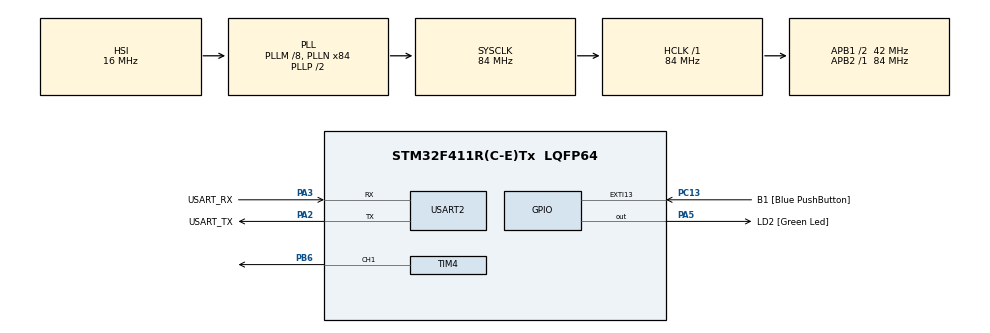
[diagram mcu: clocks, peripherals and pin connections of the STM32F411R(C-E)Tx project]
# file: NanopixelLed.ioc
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Dma.Request0=TIM4_CH1
Dma.TIM4_CH1.0.Direction=DMA_MEMORY_TO_PERIPH
Dma.TIM4_CH1.0.FIFOMode=DMA_FIFOMODE_DISABLE
Dma.TIM4_CH1.0.Instance=DMA1_Stream0
Dma.TIM4_CH1.0.MemDataAlignment=DMA_MDATAALIGN_HALFWORD
Dma.TIM4_CH1.0.MemInc=DMA_MINC_ENABLE
Dma.TIM4_CH1.0.Mode=DMA_CIRCULAR
Dma.TIM4_CH1.0.PeriphDataAlignment=DMA_PDATAALIGN_HALFWORD
Dma.TIM4_CH1.0.PeriphInc=DMA_PINC_DISABLE
Dma.TIM4_CH1.0.Priority=DMA_PRIORITY_HIGH
Mcu.Family=STM32F4
Mcu.Name=STM32F411R(C-E)Tx
Mcu.Package=LQFP64
NVIC.DMA1_Stream0_IRQn=true\:0\:0\:false\:false\:true\:false\:true
NVIC.PriorityGroup=NVIC_PRIORITYGROUP_0
PA13.GPIO_Label=TMS
PA13.Mode=Serial_Wire
PA13.Signal=SYS_JTMS-SWDIO
PA14.GPIO_Label=TCK
PA14.Mode=Serial_Wire
PA14.Signal=SYS_JTCK-SWCLK
PA2.GPIO_Label=USART_TX
PA2.Mode=Asynchronous
PA2.Signal=USART2_TX
PA3.GPIO_Label=USART_RX
PA3.Mode=Asynchronous
PA3.Signal=USART2_RX
PA5.GPIO_Label=LD2 [Green Led]
PA5.Signal=GPIO_Output
PB3.GPIO_Label=SWO
PB3.Signal=SYS_JTDO-SWO
PB6.GPIO_ModeDefaultPP=GPIO_MODE_AF_OD
PB6.GPIO_PuPd=GPIO_PULLUP
PB6.GPIO_Speed=GPIO_SPEED_FREQ_VERY_HIGH
PB6.Signal=S_TIM4_CH1
PC13-ANTI_TAMP.GPIO_Label=B1 [Blue PushButton]
PC13-ANTI_TAMP.GPIO_ModeDefaultEXTI=GPIO_MODE_IT_FALLING
PC13-ANTI_TAMP.Signal=GPXTI13
PC14-OSC32_IN.Mode=LSE-External-Oscillator
PC14-OSC32_IN.Signal=RCC_OSC32_IN
PC15-OSC32_OUT.Mode=LSE-External-Oscillator
PC15-OSC32_OUT.Signal=RCC_OSC32_OUT
PH0\ -\ OSC_IN.Mode=HSE-External-Clock-Source
PH0\ -\ OSC_IN.Signal=RCC_OSC_IN
PH1\ -\ OSC_OUT.Mode=HSE-External-Clock-Source
PH1\ -\ OSC_OUT.Signal=RCC_OSC_OUT
ProjectManager.HeapSize=0x200
ProjectManager.StackSize=0x400
ProjectManager.TargetToolchain=STM32CubeIDE
RCC.48MHZClocksFreq_Value=42000000
RCC.AHBFreq_Value=84000000
RCC.APB1CLKDivider=RCC_HCLK_DIV2
RCC.APB1Freq_Value=42000000
RCC.APB1TimFreq_Value=84000000
RCC.APB2Freq_Value=84000000
RCC.APB2TimFreq_Value=84000000
RCC.CortexFreq_Value=84000000
RCC.FLatency-AdvancedSettings=FLASH_LATENCY_2
RCC.HCLKFreq_Value=84000000
RCC.HSE_VALUE=8000000
RCC.HSI_VALUE=16000000
RCC.PLLM=8
RCC.PLLN=84
RCC.SYSCLKFreq_VALUE=84000000
RCC.SYSCLKSource=RCC_SYSCLKSOURCE_PLLCLK
RCC.VCOOutputFreq_Value=168000000
SH.S_TIM4_CH1.0=TIM4_CH1,PWM Generation1 CH1
TIM4.AutoReloadPreload=TIM_AUTORELOAD_PRELOAD_ENABLE
TIM4.Channel-PWM\ Generation1\ CH1=TIM_CHANNEL_1
TIM4.OCFastMode_PWM-PWM\ Generation1\ CH1=TIM_OCFAST_ENABLE
TIM4.OCMode_PWM-PWM\ Generation1\ CH1=TIM_OCMODE_PWM1
TIM4.Period=105 - 1
TIM4.Prescaler=0
TIM4.Pulse-PWM\ Generation1\ CH1=0
USART2.VirtualMode=VM_ASYNC
VP_TIM4_VS_ClockSourceINT.Mode=Internal
board=NUCLEO-F411RE

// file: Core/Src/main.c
/* USER CODE BEGIN Header */
/**
  ******************************************************************************
  * @file           : main.c
  * @brief          : Main program body
  ******************************************************************************
  * @attention
  *
  * <h2><center>&copy; Copyright (c) 2020 STMicroelectronics.
  * All rights reserved.</center></h2>
  *
  * This software component is licensed by ST under BSD 3-Clause license,
  * the "License"; You may not use this file except in compliance with the
  * License. You may obtain a copy of the License at:
  *                        opensource.org/licenses/BSD-3-Clause
  *
  ******************************************************************************
  */
/* USER CODE END Header */
#include "main.h"

/* USER CODE BEGIN Includes */
//#include "LedController_ws2812b.c"
/* USER CODE END Includes */

/* USER CODE BEGIN PD */
#define WS2812_FREQ							(800000)
#define TIMER_CLOCK_FREQ					(84000000)
#define TIMER_PERIOD						105
#define LED_NUMBER							(32)
#define LED_DATA_SIZE						(LED_NUMBER * 24)
#define RESET_SLOTS_BEGIN					(50)
#define RESET_SLOTS_END						(50)
#define WS2812_LAST_SLOT					(1)
#define LED_BUFFER_SIZE						(RESET_SLOTS_BEGIN + LED_DATA_SIZE + WS2812_LAST_SLOT + RESET_SLOTS_END)
#define WS2812_0							(TIMER_PERIOD / 3)
#define WS2812_1							(TIMER_PERIOD * 2 / 3)
#define WS2812_RESET						(0)

/* USER CODE END PD */

TIM_HandleTypeDef htim4;
DMA_HandleTypeDef hdma_tim4_ch1;

UART_HandleTypeDef huart2;

void SystemClock_Config(void);
static void MX_GPIO_Init(void);
static void MX_DMA_Init(void);
static void MX_USART2_UART_Init(void);
static void MX_TIM4_Init(void);

int main(void)
{

  /* MCU Configuration--------------------------------------------------------*/

  /* Reset of all peripherals, Initializes the Flash interface and the Systick. */
  HAL_Init();

  /* Configure the system clock */
  SystemClock_Config();

  /* Initialize all configured peripherals */
  MX_GPIO_Init();
  MX_DMA_Init();
  MX_USART2_UART_Init();
  MX_TIM4_Init();
  /* USER CODE BEGIN 2 */
//  char buf[30];
//  int buf_len;
//
//  uint16_t timer_val,timer_val2;

  // Start Timer
  //HAL_TIM_Base_Start(&htim4);

  //

  static uint8_t LEDbuffer[LED_BUFFER_SIZE];

  for (int i = 0 ; i < LED_BUFFER_SIZE ; i++) {
	  LEDbuffer[i] = WS2812_RESET;
  }

  // set all pixels 50 value
  for (int i = 0 ; i < 32 ; i++) {
	  //setLedColor(LEDbuffer , i , 50 , 50 , 50);
	  	int ledNumber = i;
		uint8_t binaryBuffer[24];
		ledNumber = ledNumber % LED_NUMBER;
		uint8_t R = 0 , G = 0 , B = 100;

		for (int i = 7 ; i >= 0 ; i--) {
			binaryBuffer[7 - i] 	= ((G >> i) & 1) ? WS2812_1 : WS2812_0;
			binaryBuffer[7 - i + 8] 	= ((R >> i) & 1) ? WS2812_1 : WS2812_0;
			binaryBuffer[7 - i +16] 	= ((B >> i) & 1) ? WS2812_1 : WS2812_0;
		}

		for (uint8_t i = 0 ; i < 24 ; i++) {
			LEDbuffer[RESET_SLOTS_BEGIN + ledNumber * 24 + i] = binaryBuffer[i];
		}
  }
 int y = 2;
 //for (int i = 50 ; i < LED_BUFFER_SIZE - 50 ; i++) LEDbuffer[i] = 70;
//  HAL_TIM_Base_Start(&htim4);
	if(  HAL_TIM_PWM_Start_DMA(
			  &htim4,
			  TIM_CHANNEL_1,
			  (uint32_t *) LEDbuffer, // 32bit ?
			  LED_BUFFER_SIZE) == HAL_OK){
		int x = 2;
	}
//}
//  uint16_t test[10] = {0,500,0,0,0,660,0,0,0,900};
//  HAL_TIM_PWM_Start_DMA(
//  		  &htim4,
//  		  TIM_CHANNEL_1,
//  		  (uint32_t *) test, // 32bit ?
//  		  10);

  /* USER CODE END 2 */

  /* Infinite loop */
  /* USER CODE BEGIN WHILE */
  while (1)
  {
//	  timer_val = htim4.Instance->CNT;
//	  timer_val2 = __HAL_TIM_GET_COUNTER(&htim4);
//	  buf_len = sprintf(buf , "%d %d\n" ,timer_val , timer_val2 );
//	  HAL_UART_Transmit(&huart2 , (uint8_t *) buf , buf_len , 100);
    /* USER CODE END WHILE */

  }
}

void SystemClock_Config(void)
{
  RCC_OscInitTypeDef RCC_OscInitStruct = {0};
  RCC_ClkInitTypeDef RCC_ClkInitStruct = {0};

  /** Configure the main internal regulator output voltage
  */
  __HAL_RCC_PWR_CLK_ENABLE();
  __HAL_PWR_VOLTAGESCALING_CONFIG(PWR_REGULATOR_VOLTAGE_SCALE1);
  /** Initializes the RCC Oscillators according to the specified parameters
  * in the RCC_OscInitTypeDef structure.
  */
  RCC_OscInitStruct.OscillatorType = RCC_OSCILLATORTYPE_HSI;
  RCC_OscInitStruct.HSIState = RCC_HSI_ON;
  RCC_OscInitStruct.HSICalibrationValue = RCC_HSICALIBRATION_DEFAULT;
  RCC_OscInitStruct.PLL.PLLState = RCC_PLL_ON;
  RCC_OscInitStruct.PLL.PLLSource = RCC_PLLSOURCE_HSI;
  RCC_OscInitStruct.PLL.PLLM = 8;
  RCC_OscInitStruct.PLL.PLLN = 84;
  RCC_OscInitStruct.PLL.PLLP = RCC_PLLP_DIV2;
  RCC_OscInitStruct.PLL.PLLQ = 4;
  if (HAL_RCC_OscConfig(&RCC_OscInitStruct) != HAL_OK)
  {
    Error_Handler();
  }
  /** Initializes the CPU, AHB and APB buses clocks
  */
  RCC_ClkInitStruct.ClockType = RCC_CLOCKTYPE_HCLK|RCC_CLOCKTYPE_SYSCLK
                              |RCC_CLOCKTYPE_PCLK1|RCC_CLOCKTYPE_PCLK2;
  RCC_ClkInitStruct.SYSCLKSource = RCC_SYSCLKSOURCE_PLLCLK;
  RCC_ClkInitStruct.AHBCLKDivider = RCC_SYSCLK_DIV1;
  RCC_ClkInitStruct.APB1CLKDivider = RCC_HCLK_DIV2;
  RCC_ClkInitStruct.APB2CLKDivider = RCC_HCLK_DIV1;

  if (HAL_RCC_ClockConfig(&RCC_ClkInitStruct, FLASH_LATENCY_2) != HAL_OK)
  {
    Error_Handler();
  }
}

static void MX_TIM4_Init(void)
{

  TIM_ClockConfigTypeDef sClockSourceConfig = {0};
  TIM_MasterConfigTypeDef sMasterConfig = {0};
  TIM_OC_InitTypeDef sConfigOC = {0};

  htim4.Instance = TIM4;
  htim4.Init.Prescaler = 0;
  htim4.Init.CounterMode = TIM_COUNTERMODE_UP;
  htim4.Init.Period = 105 - 1;
  htim4.Init.ClockDivision = TIM_CLOCKDIVISION_DIV1;
  htim4.Init.AutoReloadPreload = TIM_AUTORELOAD_PRELOAD_ENABLE;
  if (HAL_TIM_Base_Init(&htim4) != HAL_OK)
  {
    Error_Handler();
  }
  sClockSourceConfig.ClockSource = TIM_CLOCKSOURCE_INTERNAL;
  if (HAL_TIM_ConfigClockSource(&htim4, &sClockSourceConfig) != HAL_OK)
  {
    Error_Handler();
  }
  if (HAL_TIM_PWM_Init(&htim4) != HAL_OK)
  {
    Error_Handler();
  }
  sMasterConfig.MasterOutputTrigger = TIM_TRGO_RESET;
  sMasterConfig.MasterSlaveMode = TIM_MASTERSLAVEMODE_DISABLE;
  if (HAL_TIMEx_MasterConfigSynchronization(&htim4, &sMasterConfig) != HAL_OK)
  {
    Error_Handler();
  }
  sConfigOC.OCMode = TIM_OCMODE_PWM1;
  sConfigOC.Pulse = 0;
  sConfigOC.OCPolarity = TIM_OCPOLARITY_HIGH;
  sConfigOC.OCFastMode = TIM_OCFAST_ENABLE;
  if (HAL_TIM_PWM_ConfigChannel(&htim4, &sConfigOC, TIM_CHANNEL_1) != HAL_OK)
  {
    Error_Handler();
  }
  HAL_TIM_MspPostInit(&htim4);

}

static void MX_USART2_UART_Init(void)
{

  huart2.Instance = USART2;
  huart2.Init.BaudRate = 115200;
  huart2.Init.WordLength = UART_WORDLENGTH_8B;
  huart2.Init.StopBits = UART_STOPBITS_1;
  huart2.Init.Parity = UART_PARITY_NONE;
  huart2.Init.Mode = UART_MODE_TX_RX;
  huart2.Init.HwFlowCtl = UART_HWCONTROL_NONE;
  huart2.Init.OverSampling = UART_OVERSAMPLING_16;
  if (HAL_UART_Init(&huart2) != HAL_OK)
  {
    Error_Handler();
  }

}

static void MX_DMA_Init(void)
{

  /* DMA controller clock enable */
  __HAL_RCC_DMA1_CLK_ENABLE();

  /* DMA interrupt init */
  /* DMA1_Stream0_IRQn interrupt configuration */
  HAL_NVIC_SetPriority(DMA1_Stream0_IRQn, 0, 0);
  HAL_NVIC_EnableIRQ(DMA1_Stream0_IRQn);

}

static void MX_GPIO_Init(void)
{
  GPIO_InitTypeDef GPIO_InitStruct = {0};

  /* GPIO Ports Clock Enable */
  __HAL_RCC_GPIOC_CLK_ENABLE();
  __HAL_RCC_GPIOH_CLK_ENABLE();
  __HAL_RCC_GPIOA_CLK_ENABLE();
  __HAL_RCC_GPIOB_CLK_ENABLE();

  /*Configure GPIO pin Output Level */
  HAL_GPIO_WritePin(LD2_GPIO_Port, LD2_Pin, GPIO_PIN_RESET);

  /*Configure GPIO pin : B1_Pin */
  GPIO_InitStruct.Pin = B1_Pin;
  GPIO_InitStruct.Mode = GPIO_MODE_IT_FALLING;
  GPIO_InitStruct.Pull = GPIO_NOPULL;
  HAL_GPIO_Init(B1_GPIO_Port, &GPIO_InitStruct);

  /*Configure GPIO pin : LD2_Pin */
  GPIO_InitStruct.Pin = LD2_Pin;
  GPIO_InitStruct.Mode = GPIO_MODE_OUTPUT_PP;
  GPIO_InitStruct.Pull = GPIO_NOPULL;
  GPIO_InitStruct.Speed = GPIO_SPEED_FREQ_LOW;
  HAL_GPIO_Init(LD2_GPIO_Port, &GPIO_InitStruct);

}

/* USER CODE BEGIN 4 */
void TIMx_DMA_IRQHandler(void) {
	HAL_DMA_IRQHandler(htim4.hdma[TIM_DMA_ID_CC1]);
}
/* USER CODE END 4 */

void Error_Handler(void)
{
}

/************************ (C) COPYRIGHT STMicroelectronics *****END OF FILE****/
